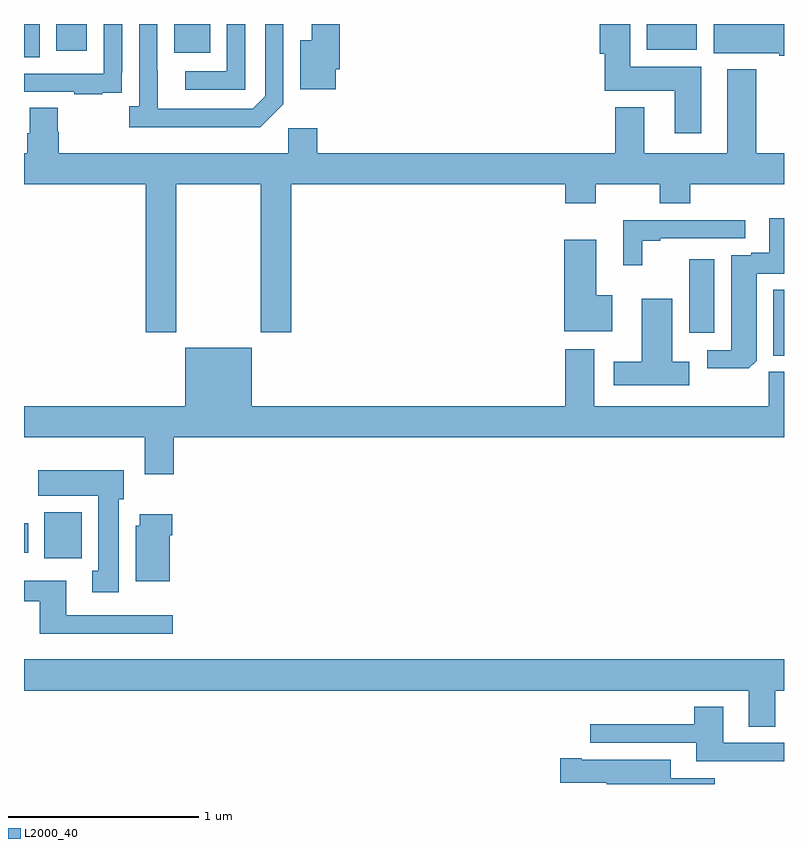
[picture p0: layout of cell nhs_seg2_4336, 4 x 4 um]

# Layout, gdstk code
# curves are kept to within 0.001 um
import gdstk
lib = gdstk.Library(unit=1e-6, precision=1e-09)
def R(c, l, rs):  # rectangles x0, y0, x1, y1
    for r in rs: c.add(gdstk.rectangle(r[:2], r[2:], *l))
def P(c, l, *ps):  # polygons
    for p in ps: c.add(gdstk.Polygon(p, *l))
L2000_40 = (2000, 40)

nhs_seg2_4336 = lib.new_cell('nhs_seg2_4336')
R(nhs_seg2_4336, L2000_40, [(345.107,658.988,345.304,659.23), (345,659.016,345.022,659.172), (348.944,660.055,349,660.401), (348.5,660.174,348.634,660.562), (345,661.624,345.082,661.8), (345.791,661.649,345.979,661.8), (345.17,661.659,345.331,661.8), (348.278,661.664,348.541,661.8)])
P(nhs_seg2_4336, L2000_40, [(345.413,661.437),(345.515,661.437),(345.515,661.546),(345.516,661.546),(345.516,661.8),(345.42,661.8),(345.42,661.539),(345,661.539),(345,661.443),(345.265,661.443),(345.265,661.431),(345.413,661.431)],
  [(346.164,661.8),(346.068,661.8),(346.068,661.551),(345.849,661.551),(345.849,661.455),(346.164,661.455)],
  [(346.365,661.377),(346.365,661.8),(346.269,661.8),(346.269,661.419),(346.203,661.353),(345.703,661.353),(345.702,661.8),(345.606,661.8),(345.606,661.366),(345.555,661.366),(345.555,661.256),(346.244,661.256)],
  [(348.565,661.576),(348.19,661.576),(348.19,661.8),(348.029,661.8),(348.029,661.643),(348.056,661.643),(348.056,661.448),(348.425,661.448),(348.425,661.224),(348.565,661.224)],
  [(346.642,661.561),(346.661,661.561),(346.661,661.8),(346.514,661.8),(346.514,661.714),(346.454,661.714),(346.454,661.457),(346.642,661.457)],
  [(349,661.8),(348.629,661.8),(348.629,661.646),(348.974,661.646),(348.974,661.634),(349,661.634)],
  [(345.801,660.956),(346.246,660.956),(346.246,660.177),(346.406,660.177),(346.406,660.956),(347.849,660.956),(347.849,660.857),(348.009,660.857),(348.009,660.956),(348.346,660.956),(348.346,660.857),(348.506,660.857),(348.506,660.956),(349,660.956),(349,661.12),(348.854,661.12),(348.854,661.561),(348.701,661.561),(348.701,661.12),(348.265,661.12),(348.265,661.363),(348.113,661.363),(348.113,661.12),(346.544,661.12),(346.544,661.252),(346.392,661.252),(346.392,661.12),(345.182,661.12),(345.182,661.233),(345.177,661.233),(345.177,661.358),(345.029,661.358),(345.029,661.226),(345.017,661.226),(345.017,661.12),(345,661.12),(345,660.956),(345.641,660.956),(345.641,660.177),(345.801,660.177)],
  [(348.856,660.028),(348.856,660.486),(349,660.486),(349,660.778),(348.923,660.778),(348.923,660.595),(348.827,660.595),(348.827,660.582),(348.722,660.582),(348.722,660.084),(348.597,660.084),(348.597,659.987),(348.815,659.987)],
  [(348.255,660.66),(348.349,660.66),(348.349,660.672),(348.796,660.672),(348.796,660.768),(348.155,660.768),(348.155,660.531),(348.255,660.531)],
  [(348.097,660.373),(348.013,660.373),(348.013,660.664),(347.843,660.664),(347.843,660.182),(348.097,660.182)],
  [(348.502,660.022),(348.412,660.022),(348.412,660.355),(348.251,660.355),(348.251,660.022),(348.105,660.022),(348.105,659.9),(348.502,659.9)],
  [(345.788,659.624),(349,659.624),(349,659.97),(348.919,659.97),(348.919,659.788),(348.001,659.788),(348.001,660.088),(347.849,660.088),(347.849,659.788),(346.198,659.788),(346.198,660.097),(345.848,660.097),(345.848,659.788),(345,659.788),(345,659.624),(345.635,659.624),(345.635,659.43),(345.788,659.43)],
  [(345.499,659.298),(345.526,659.298),(345.526,659.452),(345.075,659.452),(345.075,659.318),(345.392,659.318),(345.392,658.922),(345.359,658.922),(345.359,658.809),(345.499,658.809)],
  [(345.766,659.108),(345.779,659.108),(345.779,659.221),(345.608,659.221),(345.608,659.16),(345.587,659.16),(345.587,658.868),(345.766,658.868)],
  [(345.784,658.689),(345.223,658.689),(345.223,658.87),(345,658.87),(345,658.761),(345.083,658.761),(345.083,658.592),(345.784,658.592)],
  [(348.955,658.292),(349,658.292),(349,658.456),(345,658.456),(345,658.292),(348.815,658.292),(348.815,658.102),(348.955,658.102)],
  [(349,658.017),(348.679,658.017),(348.679,658.207),(348.527,658.207),(348.527,658.114),(347.979,658.114),(347.979,658.017),(348.539,658.017),(348.539,657.921),(349,657.921)],
  [(348.636,657.831),(348.403,657.831),(348.403,657.928),(347.935,657.928),(347.935,657.936),(347.823,657.936),(347.823,657.806),(348.068,657.806),(348.068,657.8),(348.636,657.8)])

lib.write_gds('nhs_seg2_4336.gds')
